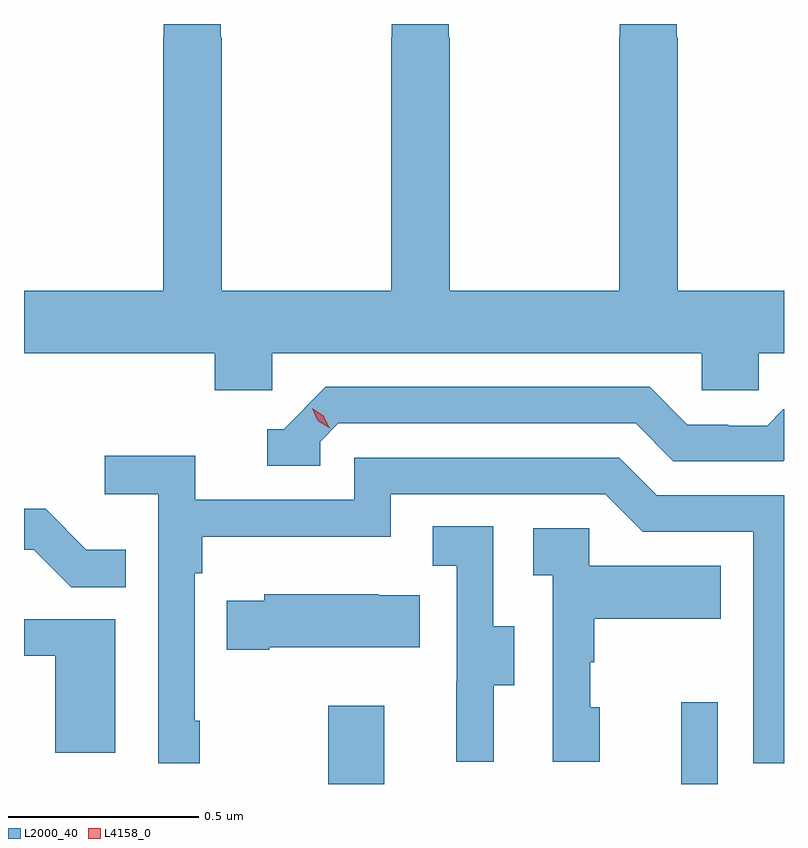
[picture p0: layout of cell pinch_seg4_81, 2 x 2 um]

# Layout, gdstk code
import gdstk
lib = gdstk.Library(unit=1e-6, precision=1e-09)
def R(c, l, rs):  # rectangles x0, y0, x1, y1
    for r in rs: c.add(gdstk.rectangle(r[:2], r[2:], *l))
def P(c, l, *ps):  # polygons
    for p in ps: c.add(gdstk.Polygon(p, *l))
L2000_40 = (2000, 40)
L4158_0 = (4158, 0)

pinch_seg4_81 = lib.new_cell('pinch_seg4_81')
R(pinch_seg4_81, L2000_40, [(1071.808,811.67,1071.955,811.876), (1072.736,811.67,1072.833,811.885)])
P(pinch_seg4_81, L2000_40, [(1071.66,812.804),(1072.791,812.804),(1072.791,812.706),(1072.941,812.706),(1072.941,812.804),(1073.007,812.804),(1073.007,812.968),(1072.728,812.968),(1072.728,813.635),(1072.725,813.635),(1072.725,813.67),(1072.575,813.67),(1072.575,813.635),(1072.573,813.635),(1072.573,812.968),(1072.128,812.968),(1072.128,813.635),(1072.125,813.635),(1072.125,813.67),(1071.975,813.67),(1071.975,813.635),(1071.973,813.635),(1071.973,812.968),(1071.528,812.968),(1071.528,813.635),(1071.525,813.635),(1071.525,813.67),(1071.375,813.67),(1071.375,813.635),(1071.373,813.635),(1071.373,812.968),(1071.007,812.968),(1071.007,812.804),(1071.509,812.804),(1071.509,812.706),(1071.66,812.706)],
  [(1071.786,812.571),(1071.834,812.619),(1072.617,812.619),(1072.716,812.52),(1073.005,812.52),(1073.007,812.522),(1073.007,812.656),(1073.005,812.656),(1072.963,812.613),(1072.86,812.613),(1072.86,812.616),(1072.753,812.616),(1072.654,812.715),(1071.801,812.715),(1071.69,812.604),(1071.647,812.604),(1071.647,812.508),(1071.786,812.508)],
  [(1071.469,811.837),(1071.456,811.837),(1071.456,812.225),(1071.476,812.225),(1071.476,812.321),(1071.972,812.321),(1071.972,812.433),(1072.536,812.433),(1072.635,812.334),(1072.926,812.334),(1072.926,811.725),(1073.007,811.725),(1073.007,812.43),(1072.672,812.43),(1072.573,812.529),(1071.876,812.529),(1071.876,812.418),(1071.458,812.418),(1071.458,812.534),(1071.219,812.534),(1071.219,812.432),(1071.36,812.432),(1071.36,811.725),(1071.469,811.725)],
  [(1071.275,812.287),(1071.171,812.287),(1071.064,812.394),(1071.007,812.394),(1071.007,812.286),(1071.033,812.286),(1071.131,812.188),(1071.275,812.188)],
  [(1072.243,811.93),(1072.297,811.93),(1072.297,812.085),(1072.242,812.085),(1072.242,812.348),(1072.083,812.348),(1072.083,812.245),(1072.146,812.245),(1072.146,811.941),(1072.145,811.941),(1072.145,811.728),(1072.243,811.728)],
  [(1072.522,811.872),(1072.497,811.872),(1072.497,811.991),(1072.507,811.991),(1072.507,812.105),(1072.841,812.105),(1072.841,812.245),(1072.494,812.245),(1072.494,812.343),(1072.347,812.343),(1072.347,812.219),(1072.398,812.219),(1072.398,811.728),(1072.522,811.728)],
  [(1071.652,812.03),(1072.049,812.03),(1072.049,812.167),(1071.941,812.167),(1071.941,812.17),(1071.639,812.17),(1071.639,812.152),(1071.541,812.152),(1071.541,812.023),(1071.652,812.023)],
  [(1071.247,812.103),(1071.007,812.103),(1071.007,812.007),(1071.089,812.007),(1071.089,811.752),(1071.247,811.752)])
P(pinch_seg4_81, L4158_0, [(1071.811,812.606),(1071.78,812.626),(1071.765,812.659),(1071.765,812.659),(1071.765,812.659),(1071.795,812.639),(1071.811,812.606),(1071.811,812.606)])

lib.write_gds('pinch_seg4_81.gds')
